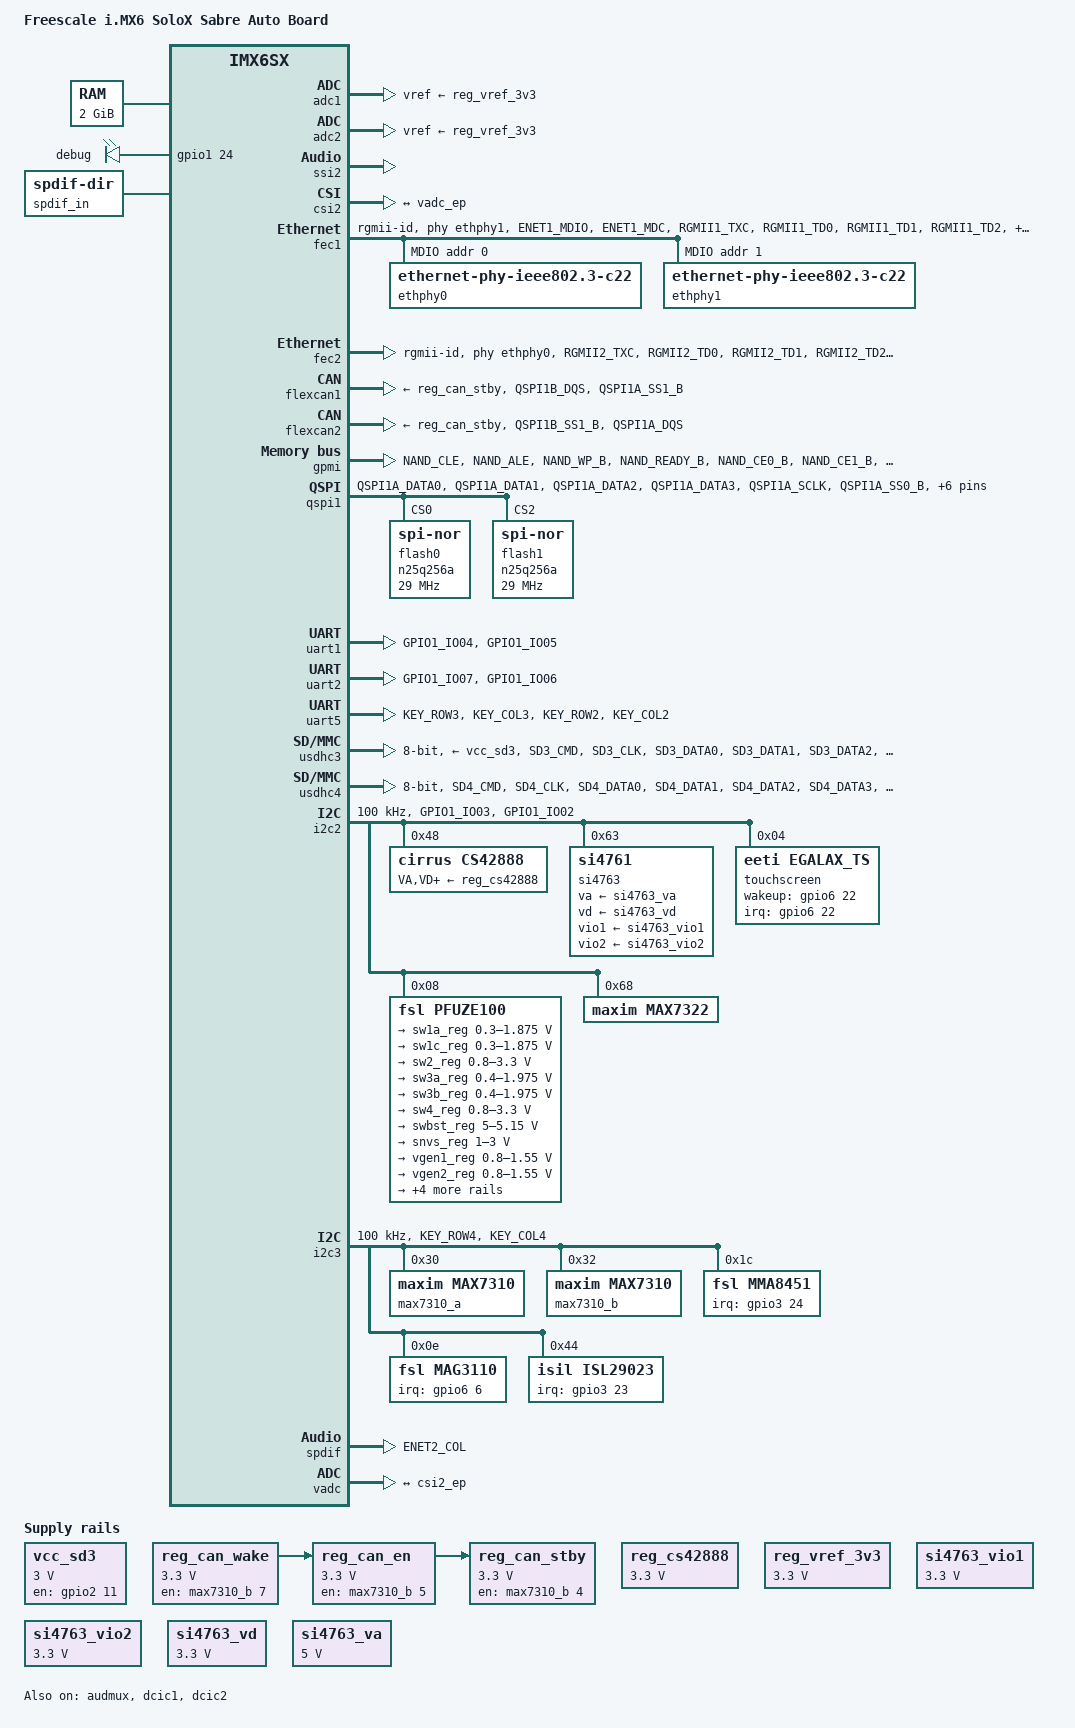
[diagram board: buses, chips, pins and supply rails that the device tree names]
// SPDX-License-Identifier: GPL-2.0
//
// Copyright (C) 2014 Freescale Semiconductor, Inc.

/dts-v1/;

#include "imx6sx.dtsi"

/ {
	model = "Freescale i.MX6 SoloX Sabre Auto Board";
	compatible = "fsl,imx6sx-sabreauto", "fsl,imx6sx";

	memory@80000000 {
		device_type = "memory";
		reg = <0x80000000 0x80000000>;
	};

	leds {
		compatible = "gpio-leds";
		pinctrl-names = "default";
		pinctrl-0 = <&pinctrl_led>;

		led-user {
			label = "debug";
			gpios = <&gpio1 24 GPIO_ACTIVE_HIGH>;
			linux,default-trigger = "heartbeat";
		};
	};

	vcc_sd3: regulator-vcc-sd3 {
		compatible = "regulator-fixed";
		pinctrl-names = "default";
		pinctrl-0 = <&pinctrl_vcc_sd3>;
		regulator-name = "VCC_SD3";
		regulator-min-microvolt = <3000000>;
		regulator-max-microvolt = <3000000>;
		gpio = <&gpio2 11 GPIO_ACTIVE_HIGH>;
		enable-active-high;
	};

	reg_can_wake: regulator-can-wake {
		compatible = "regulator-fixed";
		regulator-name = "can-wake";
		regulator-min-microvolt = <3300000>;
		regulator-max-microvolt = <3300000>;
		gpio = <&max7310_b 7 GPIO_ACTIVE_HIGH>;
		enable-active-high;
	};

	reg_can_en: regulator-can-en {
		compatible = "regulator-fixed";
		regulator-name = "can-en";
		regulator-min-microvolt = <3300000>;
		regulator-max-microvolt = <3300000>;
		gpio = <&max7310_b 5 GPIO_ACTIVE_HIGH>;
		enable-active-high;
		vin-supply = <&reg_can_wake>;
	};

	reg_can_stby: regulator-can-stby {
		compatible = "regulator-fixed";
		regulator-name = "can-stby";
		regulator-min-microvolt = <3300000>;
		regulator-max-microvolt = <3300000>;
		gpio = <&max7310_b 4 GPIO_ACTIVE_HIGH>;
		enable-active-high;
		vin-supply = <&reg_can_en>;
	};

	reg_cs42888: cs42888_supply {
		compatible = "regulator-fixed";
		regulator-name = "cs42888_supply";
		regulator-min-microvolt = <3300000>;
		regulator-max-microvolt = <3300000>;
		regulator-always-on;
	};

	reg_vref_3v3: regulator-adc-verf {
		compatible = "regulator-fixed";
		regulator-name = "vref-3v3";
		regulator-min-microvolt = <3300000>;
		regulator-max-microvolt = <3300000>;
	};

	si4763_vio1: vio1_tnr {
		compatible = "regulator-fixed";
		regulator-name = "vio1";
		regulator-min-microvolt = <3300000>;
		regulator-max-microvolt = <3300000>;
		regulator-always-on;
	};

	si4763_vio2: vio2_tnr {
		compatible = "regulator-fixed";
		regulator-name = "vio2";
		regulator-min-microvolt = <3300000>;
		regulator-max-microvolt = <3300000>;
		regulator-always-on;
	};

	si4763_vd: f3v3_tnr {
		compatible = "regulator-fixed";
		regulator-name = "vd";
		regulator-min-microvolt = <3300000>;
		regulator-max-microvolt = <3300000>;
		regulator-always-on;
	};

	si4763_va: f5v_tnr {
		compatible = "regulator-fixed";
		regulator-name = "va";
		regulator-min-microvolt = <5000000>;
		regulator-max-microvolt = <5000000>;
		regulator-always-on;
	};

	sound-cs42888 {
		compatible = "fsl,imx6-sabreauto-cs42888",
			     "fsl,imx-audio-cs42888";
		model = "imx-cs42888";
		audio-cpu = <&esai>;
		audio-asrc = <&asrc>;
		audio-codec = <&cs42888>;
		audio-routing =
			"Line Out Jack", "AOUT1L",
			"Line Out Jack", "AOUT1R",
			"Line Out Jack", "AOUT2L",
			"Line Out Jack", "AOUT2R",
			"Line Out Jack", "AOUT3L",
			"Line Out Jack", "AOUT3R",
			"Line Out Jack", "AOUT4L",
			"Line Out Jack", "AOUT4R",
			"AIN1L", "Line In Jack",
			"AIN1R", "Line In Jack",
			"AIN2L", "Line In Jack",
			"AIN2R", "Line In Jack";
	};

	sound-fm {
		compatible = "fsl,imx-audio-si476x",
			   "fsl,imx-tuner-si476x";
		model = "imx-radio-si4763";

		ssi-controller = <&ssi2>;
		fm-controller = <&si476x_codec>;
		mux-int-port = <2>;
		mux-ext-port = <5>;
	};

	spdif_in: spdif-in {
		compatible = "linux,spdif-dir";
		#sound-dai-cells = <0>;
	};

	sound-spdif {
		compatible = "fsl,imx-audio-spdif";
		model = "imx-spdif";
		audio-cpu = <&spdif>;
		audio-codec = <&spdif_in>;
	};
};

&adc1 {
	vref-supply = <&reg_vref_3v3>;
	status = "okay";
};

&adc2 {
	vref-supply = <&reg_vref_3v3>;
	status = "okay";
};

&anaclk2 {
	clock-frequency = <24576000>;
};

&audmux {
	pinctrl-names = "default";
	pinctrl-0 = <&pinctrl_audmux_3>;
	status = "okay";
};

&clks {
	assigned-clocks = <&clks IMX6SX_PLL4_BYPASS_SRC>,
			  <&clks IMX6SX_PLL4_BYPASS>,
			  <&clks IMX6SX_CLK_PLL4_POST_DIV>;
	assigned-clock-parents = <&clks IMX6SX_CLK_LVDS2_IN>,
				 <&clks IMX6SX_PLL4_BYPASS_SRC>;
	assigned-clock-rates = <0>, <0>, <24576000>;
};

&ssi2 {
	fsl,mode = "i2s-master";
	status = "okay";
};

&csi2 {
	status = "okay";
	port {
		csi2_ep: endpoint {
			remote-endpoint = <&vadc_ep>;
		};
	};
};

&dcic1 {
	dcic_id = <0>;
	dcic_mux = "dcic-lcdif1";
	status = "okay";
};

&dcic2 {
	dcic_id = <1>;
	dcic_mux = "dcic-lvds";
	status = "okay";
};

&esai {
	pinctrl-names = "default";
	pinctrl-0 = <&pinctrl_esai>;
	assigned-clocks = <&clks IMX6SX_CLK_ESAI_SEL>,
			<&clks IMX6SX_CLK_ESAI_EXTAL>;
	assigned-clock-parents = <&clks IMX6SX_CLK_PLL4_AUDIO_DIV>;
	assigned-clock-rates = <0>, <24576000>;
};

&fec1 {
	pinctrl-names = "default";
	pinctrl-0 = <&pinctrl_enet1>;
	phy-mode = "rgmii-id";
	phy-handle = <&ethphy1>;
	fsl,magic-packet;
	status = "okay";

	mdio {
		#address-cells = <1>;
		#size-cells = <0>;

		ethphy0: ethernet-phy@0 {
			compatible = "ethernet-phy-ieee802.3-c22";
			reg = <0>;
			qca,disable-smarteee;
		};

		ethphy1: ethernet-phy@1 {
			compatible = "ethernet-phy-ieee802.3-c22";
			reg = <1>;
			qca,disable-smarteee;
		};
	};
};

&fec2 {
	pinctrl-names = "default";
	pinctrl-0 = <&pinctrl_enet2>;
	phy-mode = "rgmii-id";
	phy-handle = <&ethphy0>;
	fsl,magic-packet;
	status = "okay";
};

&flexcan1 {
	pinctrl-names = "default";
	pinctrl-0 = <&pinctrl_flexcan1>;
	xceiver-supply = <&reg_can_stby>;
	status = "okay";
};

&flexcan2 {
	pinctrl-names = "default";
	pinctrl-0 = <&pinctrl_flexcan2>;
	xceiver-supply = <&reg_can_stby>;
	status = "okay";
};

&gpmi {
        pinctrl-names = "default";
        pinctrl-0 = <&pinctrl_gpmi_nand_1>;
        nand-on-flash-bbt;
        status = "okay";
};

&qspi1 {
	pinctrl-names = "default";
	pinctrl-0 = <&pinctrl_qspi1_1>;
	status = "okay";
	ddrsmp=<2>;

	flash0: n25q256a@0 {
		#address-cells = <1>;
		#size-cells = <1>;
		compatible = "jedec,spi-nor";
		spi-max-frequency = <29000000>;
		spi-tx-bus-width = <4>;
		spi-rx-bus-width = <4>;
		reg = <0>;
	};

	flash1: n25q256a@2 {
		#address-cells = <1>;
		#size-cells = <1>;
		compatible = "jedec,spi-nor";
		spi-max-frequency = <29000000>;
		spi-tx-bus-width = <4>;
		spi-rx-bus-width = <4>;
		reg = <2>;
	};
};

&uart1 {
	pinctrl-names = "default";
	pinctrl-0 = <&pinctrl_uart1>;
	status = "okay";
};

&uart2 {
	pinctrl-names = "default";
	pinctrl-0 = <&pinctrl_uart2>;
	status = "okay";
};

&uart5 { /* for bluetooth */
	pinctrl-names = "default";
	pinctrl-0 = <&pinctrl_uart5>;
	fsl,uart-has-rtscts;
	status = "okay";
	/* for DTE mode, add below change */
	/* fsl,dte-mode;*/
	/* pinctrl-0 = <&pinctrl_uart5dte>; */
};

&usdhc3 {
	pinctrl-names = "default", "state_100mhz", "state_200mhz";
	pinctrl-0 = <&pinctrl_usdhc3>;
	pinctrl-1 = <&pinctrl_usdhc3_100mhz>;
	pinctrl-2 = <&pinctrl_usdhc3_200mhz>;
	bus-width = <8>;
	cd-gpios = <&gpio7 10 GPIO_ACTIVE_LOW>;
	wp-gpios = <&gpio3 19 GPIO_ACTIVE_HIGH>;
	keep-power-in-suspend;
	wakeup-source;
	vmmc-supply = <&vcc_sd3>;
	status = "okay";
};

&usdhc4 {
	pinctrl-names = "default";
	pinctrl-0 = <&pinctrl_usdhc4>;
	bus-width = <8>;
	cd-gpios = <&gpio7 11 GPIO_ACTIVE_LOW>;
	no-1-8-v;
	keep-power-in-suspend;
	wakeup-source;
	status = "okay";
};

&iomuxc {
	pinctrl_audmux_3: audmux-3 {
		fsl,pins = <
			MX6SX_PAD_SD1_CMD__AUDMUX_AUD5_RXC    0x130b0
			MX6SX_PAD_SD1_CLK__AUDMUX_AUD5_RXFS   0x130b0
			MX6SX_PAD_SD1_DATA3__AUDMUX_AUD5_RXD  0x130b0
		>;
	};

	pinctrl_egalax_int: egalax-intgrp {
		fsl,pins = <
			MX6SX_PAD_SD4_RESET_B__GPIO6_IO_22      0x10b0
		>;
	};

	pinctrl_enet1: enet1grp {
		fsl,pins = <
			MX6SX_PAD_ENET1_MDIO__ENET1_MDIO        0xa0b1
			MX6SX_PAD_ENET1_MDC__ENET1_MDC          0xa0b1
			MX6SX_PAD_RGMII1_TXC__ENET1_RGMII_TXC   0xa0b9
			MX6SX_PAD_RGMII1_TD0__ENET1_TX_DATA_0   0xa0b1
			MX6SX_PAD_RGMII1_TD1__ENET1_TX_DATA_1   0xa0b1
			MX6SX_PAD_RGMII1_TD2__ENET1_TX_DATA_2   0xa0b1
			MX6SX_PAD_RGMII1_TD3__ENET1_TX_DATA_3   0xa0b1
			MX6SX_PAD_RGMII1_TX_CTL__ENET1_TX_EN    0xa0b1
			MX6SX_PAD_RGMII1_RXC__ENET1_RX_CLK      0x3081
			MX6SX_PAD_RGMII1_RD0__ENET1_RX_DATA_0   0x3081
			MX6SX_PAD_RGMII1_RD1__ENET1_RX_DATA_1   0x3081
			MX6SX_PAD_RGMII1_RD2__ENET1_RX_DATA_2   0x3081
			MX6SX_PAD_RGMII1_RD3__ENET1_RX_DATA_3   0x3081
			MX6SX_PAD_RGMII1_RX_CTL__ENET1_RX_EN    0x3081
		>;
	};

	pinctrl_enet2: enet2grp {
		fsl,pins = <
			MX6SX_PAD_RGMII2_TXC__ENET2_RGMII_TXC   0xa0b9
			MX6SX_PAD_RGMII2_TD0__ENET2_TX_DATA_0   0xa0b1
			MX6SX_PAD_RGMII2_TD1__ENET2_TX_DATA_1   0xa0b1
			MX6SX_PAD_RGMII2_TD2__ENET2_TX_DATA_2   0xa0b1
			MX6SX_PAD_RGMII2_TD3__ENET2_TX_DATA_3   0xa0b1
			MX6SX_PAD_RGMII2_TX_CTL__ENET2_TX_EN    0xa0b1
			MX6SX_PAD_RGMII2_RXC__ENET2_RX_CLK      0x3081
			MX6SX_PAD_RGMII2_RD0__ENET2_RX_DATA_0   0x3081
			MX6SX_PAD_RGMII2_RD1__ENET2_RX_DATA_1   0x3081
			MX6SX_PAD_RGMII2_RD2__ENET2_RX_DATA_2   0x3081
			MX6SX_PAD_RGMII2_RD3__ENET2_RX_DATA_3   0x3081
			MX6SX_PAD_RGMII2_RX_CTL__ENET2_RX_EN    0x3081
		>;
	};

	pinctrl_esai: esaigrp {
		fsl,pins = <
			MX6SX_PAD_CSI_DATA00__ESAI_TX_CLK   0x1b030
			MX6SX_PAD_CSI_DATA01__ESAI_TX_FS    0x1b030
			MX6SX_PAD_CSI_HSYNC__ESAI_TX0       0x1b030
			MX6SX_PAD_CSI_DATA04__ESAI_TX1      0x1b030
			MX6SX_PAD_CSI_DATA06__ESAI_TX2_RX3  0x1b030
			MX6SX_PAD_CSI_DATA07__ESAI_TX3_RX2  0x1b030
			MX6SX_PAD_CSI_DATA02__ESAI_RX_CLK   0x1b030
			MX6SX_PAD_CSI_DATA03__ESAI_RX_FS    0x1b030
			MX6SX_PAD_CSI_VSYNC__ESAI_TX5_RX0   0x1b030
			MX6SX_PAD_CSI_DATA05__ESAI_TX4_RX1  0x1b030
		>;
	};

	pinctrl_flexcan1: flexcan1grp {
		fsl,pins = <
			MX6SX_PAD_QSPI1B_DQS__CAN1_TX   0x1b020
			MX6SX_PAD_QSPI1A_SS1_B__CAN1_RX	0x1b020
		>;
	};

	pinctrl_flexcan2: flexcan2grp {
		fsl,pins = <
			MX6SX_PAD_QSPI1B_SS1_B__CAN2_RX 0x1b020
			MX6SX_PAD_QSPI1A_DQS__CAN2_TX	0x1b020
		>;
	};

	pinctrl_gpmi_nand_1: gpmi-nand-1 {
		fsl,pins = <
			MX6SX_PAD_NAND_CLE__RAWNAND_CLE         0xb0b1
			MX6SX_PAD_NAND_ALE__RAWNAND_ALE         0xb0b1
			MX6SX_PAD_NAND_WP_B__RAWNAND_WP_B       0xb0b1
			MX6SX_PAD_NAND_READY_B__RAWNAND_READY_B 0xb000
			MX6SX_PAD_NAND_CE0_B__RAWNAND_CE0_B     0xb0b1
			MX6SX_PAD_NAND_CE1_B__RAWNAND_CE1_B     0xb0b1
			MX6SX_PAD_NAND_RE_B__RAWNAND_RE_B       0xb0b1
			MX6SX_PAD_NAND_WE_B__RAWNAND_WE_B       0xb0b1
			MX6SX_PAD_NAND_DATA00__RAWNAND_DATA00   0xb0b1
			MX6SX_PAD_NAND_DATA01__RAWNAND_DATA01   0xb0b1
			MX6SX_PAD_NAND_DATA02__RAWNAND_DATA02   0xb0b1
			MX6SX_PAD_NAND_DATA03__RAWNAND_DATA03   0xb0b1
			MX6SX_PAD_NAND_DATA04__RAWNAND_DATA04   0xb0b1
			MX6SX_PAD_NAND_DATA05__RAWNAND_DATA05   0xb0b1
			MX6SX_PAD_NAND_DATA06__RAWNAND_DATA06   0xb0b1
			MX6SX_PAD_NAND_DATA07__RAWNAND_DATA07   0xb0b1
		>;
	};

	pinctrl_i2c2: i2c2grp {
		fsl,pins = <
			MX6SX_PAD_GPIO1_IO03__I2C2_SDA          0x4001b8b1
			MX6SX_PAD_GPIO1_IO02__I2C2_SCL          0x4001b8b1
		>;
	};

	pinctrl_i2c3: i2c3grp {
		fsl,pins = <
			MX6SX_PAD_KEY_ROW4__I2C3_SDA            0x4001b8b1
			MX6SX_PAD_KEY_COL4__I2C3_SCL            0x4001b8b1
		>;
	};

	pinctrl_led: ledgrp {
		fsl,pins = <
			MX6SX_PAD_CSI_PIXCLK__GPIO1_IO_24 0x17059
		>;
	};

	pinctrl_spdif: spdifgrp {
		fsl,pins = <
			MX6SX_PAD_ENET2_COL__SPDIF_IN           0x1b0b0
		>;
	};

	pinctrl_qspi1_1: qspi1grp_1 {
		fsl,pins = <
			MX6SX_PAD_QSPI1A_DATA0__QSPI1_A_DATA_0  0x70a1
			MX6SX_PAD_QSPI1A_DATA1__QSPI1_A_DATA_1  0x70a1
			MX6SX_PAD_QSPI1A_DATA2__QSPI1_A_DATA_2  0x70a1
			MX6SX_PAD_QSPI1A_DATA3__QSPI1_A_DATA_3  0x70a1
			MX6SX_PAD_QSPI1A_SCLK__QSPI1_A_SCLK     0x70a1
			MX6SX_PAD_QSPI1A_SS0_B__QSPI1_A_SS0_B   0x70a1
			MX6SX_PAD_QSPI1B_DATA0__QSPI1_B_DATA_0  0x70a1
			MX6SX_PAD_QSPI1B_DATA1__QSPI1_B_DATA_1  0x70a1
			MX6SX_PAD_QSPI1B_DATA2__QSPI1_B_DATA_2  0x70a1
			MX6SX_PAD_QSPI1B_DATA3__QSPI1_B_DATA_3  0x70a1
			MX6SX_PAD_QSPI1B_SCLK__QSPI1_B_SCLK     0x70a1
			MX6SX_PAD_QSPI1B_SS0_B__QSPI1_B_SS0_B   0x70a1
		>;
	};

	pinctrl_uart1: uart1grp {
		fsl,pins = <
			MX6SX_PAD_GPIO1_IO04__UART1_DCE_TX		0x1b0b1
			MX6SX_PAD_GPIO1_IO05__UART1_DCE_RX		0x1b0b1
		>;
	};

	pinctrl_uart2: uart2grp {
		fsl,pins = <
			MX6SX_PAD_GPIO1_IO07__UART2_RX 0x1b0b1
			MX6SX_PAD_GPIO1_IO06__UART2_TX 0x1b0b1
		>;
	};

	pinctrl_uart5: uart5grp {
		fsl,pins = <
			MX6SX_PAD_KEY_ROW3__UART5_RX    0x1b0b1
			MX6SX_PAD_KEY_COL3__UART5_TX    0x1b0b1
			MX6SX_PAD_KEY_ROW2__UART5_CTS_B 0x1b0b1
			MX6SX_PAD_KEY_COL2__UART5_RTS_B 0x1b0b1
		>;
	};

	pinctrl_uart5dte: uart5dtegrp {
		fsl,pins = <
			MX6SX_PAD_KEY_ROW3__UART5_TX	0x1b0b1
			MX6SX_PAD_KEY_COL3__UART5_RX	0x1b0b1
			MX6SX_PAD_KEY_ROW2__UART5_RTS_B	0x1b0b1
			MX6SX_PAD_KEY_COL2__UART5_CTS_B	0x1b0b1
		>;
	};

	pinctrl_usdhc3: usdhc3grp {
		fsl,pins = <
			MX6SX_PAD_SD3_CMD__USDHC3_CMD		0x17059
			MX6SX_PAD_SD3_CLK__USDHC3_CLK		0x10059
			MX6SX_PAD_SD3_DATA0__USDHC3_DATA0	0x17059
			MX6SX_PAD_SD3_DATA1__USDHC3_DATA1	0x17059
			MX6SX_PAD_SD3_DATA2__USDHC3_DATA2	0x17059
			MX6SX_PAD_SD3_DATA3__USDHC3_DATA3	0x17059
			MX6SX_PAD_SD3_DATA4__USDHC3_DATA4	0x17059
			MX6SX_PAD_SD3_DATA5__USDHC3_DATA5	0x17059
			MX6SX_PAD_SD3_DATA6__USDHC3_DATA6	0x17059
			MX6SX_PAD_SD3_DATA7__USDHC3_DATA7	0x17059
			MX6SX_PAD_KEY_COL0__GPIO2_IO_10		0x17059 /* CD */
			MX6SX_PAD_KEY_ROW0__GPIO2_IO_15		0x17059 /* WP */
		>;
	};

	pinctrl_usdhc3_100mhz: usdhc3grp-100mhz {
		fsl,pins = <
			MX6SX_PAD_SD3_CMD__USDHC3_CMD		0x170b9
			MX6SX_PAD_SD3_CLK__USDHC3_CLK		0x100b9
			MX6SX_PAD_SD3_DATA0__USDHC3_DATA0	0x170b9
			MX6SX_PAD_SD3_DATA1__USDHC3_DATA1	0x170b9
			MX6SX_PAD_SD3_DATA2__USDHC3_DATA2	0x170b9
			MX6SX_PAD_SD3_DATA3__USDHC3_DATA3	0x170b9
			MX6SX_PAD_SD3_DATA4__USDHC3_DATA4	0x170b9
			MX6SX_PAD_SD3_DATA5__USDHC3_DATA5	0x170b9
			MX6SX_PAD_SD3_DATA6__USDHC3_DATA6	0x170b9
			MX6SX_PAD_SD3_DATA7__USDHC3_DATA7	0x170b9
		>;
	};

	pinctrl_usdhc3_200mhz: usdhc3grp-200mhz {
		fsl,pins = <
			MX6SX_PAD_SD3_CMD__USDHC3_CMD		0x170f9
			MX6SX_PAD_SD3_CLK__USDHC3_CLK		0x100f9
			MX6SX_PAD_SD3_DATA0__USDHC3_DATA0	0x170f9
			MX6SX_PAD_SD3_DATA1__USDHC3_DATA1	0x170f9
			MX6SX_PAD_SD3_DATA2__USDHC3_DATA2	0x170f9
			MX6SX_PAD_SD3_DATA3__USDHC3_DATA3	0x170f9
			MX6SX_PAD_SD3_DATA4__USDHC3_DATA4	0x170f9
			MX6SX_PAD_SD3_DATA5__USDHC3_DATA5	0x170f9
			MX6SX_PAD_SD3_DATA6__USDHC3_DATA6	0x170f9
			MX6SX_PAD_SD3_DATA7__USDHC3_DATA7	0x170f9
		>;
	};

	pinctrl_usdhc4: usdhc4grp {
		fsl,pins = <
			MX6SX_PAD_SD4_CMD__USDHC4_CMD		0x17059
			MX6SX_PAD_SD4_CLK__USDHC4_CLK		0x10059
			MX6SX_PAD_SD4_DATA0__USDHC4_DATA0	0x17059
			MX6SX_PAD_SD4_DATA1__USDHC4_DATA1	0x17059
			MX6SX_PAD_SD4_DATA2__USDHC4_DATA2	0x17059
			MX6SX_PAD_SD4_DATA3__USDHC4_DATA3	0x17059
			MX6SX_PAD_SD4_DATA7__GPIO6_IO_21	0x17059 /* CD */
			MX6SX_PAD_SD4_DATA6__GPIO6_IO_20	0x17059 /* WP */
		>;
	};

	pinctrl_vcc_sd3: vccsd3grp {
		fsl,pins = <
			MX6SX_PAD_KEY_COL1__GPIO2_IO_11		0x17059
		>;
	};

	pinctrl_wdog: wdoggrp {
		fsl,pins = <
			MX6SX_PAD_GPIO1_IO13__WDOG1_WDOG_ANY	0x30b0
		>;
	};
};

&i2c2 {
	clock-frequency = <100000>;
	pinctrl-names = "default";
	pinctrl-0 = <&pinctrl_i2c2>;
	status = "okay";

	cs42888: cs42888@48 {
		compatible = "cirrus,cs42888";
		reg = <0x48>;
		clocks = <&anaclk2 0>;
		clock-names = "mclk";
		VA-supply = <&reg_cs42888>;
		VD-supply = <&reg_cs42888>;
		VLS-supply = <&reg_cs42888>;
		VLC-supply = <&reg_cs42888>;
	};

	si4763: si4763@63 {
		compatible = "si4761";
		reg = <0x63>;
		va-supply = <&si4763_va>;
		vd-supply = <&si4763_vd>;
		vio1-supply = <&si4763_vio1>;
		vio2-supply = <&si4763_vio2>;
		revision-a10; /* set to default A10 compatible command set */

		si476x_codec: si476x-codec {
			compatible = "si476x-codec";
		};
	};

	touchscreen@4 {
		compatible = "eeti,egalax_ts";
		reg = <0x04>;
		pinctrl-names = "default";
		pinctrl-0 = <&pinctrl_egalax_int>;
		interrupt-parent = <&gpio6>;
		interrupts = <22 IRQ_TYPE_EDGE_FALLING>;
		wakeup-gpios = <&gpio6 22 GPIO_ACTIVE_HIGH>;
	};

	pfuze100: pmic@8 {
		compatible = "fsl,pfuze100";
		reg = <0x08>;

		regulators {
			sw1a_reg: sw1ab {
				regulator-min-microvolt = <300000>;
				regulator-max-microvolt = <1875000>;
				regulator-boot-on;
				regulator-always-on;
				regulator-ramp-delay = <6250>;
			};

			sw1c_reg: sw1c {
				regulator-min-microvolt = <300000>;
				regulator-max-microvolt = <1875000>;
				regulator-boot-on;
				regulator-always-on;
				regulator-ramp-delay = <6250>;
			};

			sw2_reg: sw2 {
				regulator-min-microvolt = <800000>;
				regulator-max-microvolt = <3300000>;
				regulator-boot-on;
				regulator-always-on;
			};

			sw3a_reg: sw3a {
				regulator-min-microvolt = <400000>;
				regulator-max-microvolt = <1975000>;
				regulator-boot-on;
				regulator-always-on;
			};

			sw3b_reg: sw3b {
				regulator-min-microvolt = <400000>;
				regulator-max-microvolt = <1975000>;
				regulator-boot-on;
				regulator-always-on;
			};

			sw4_reg: sw4 {
				regulator-min-microvolt = <800000>;
				regulator-max-microvolt = <3300000>;
				regulator-always-on;
			};

			swbst_reg: swbst {
				regulator-min-microvolt = <5000000>;
				regulator-max-microvolt = <5150000>;
			};

			snvs_reg: vsnvs {
				regulator-min-microvolt = <1000000>;
				regulator-max-microvolt = <3000000>;
				regulator-boot-on;
				regulator-always-on;
			};

			vref_reg: vrefddr {
				regulator-boot-on;
				regulator-always-on;
			};

			vgen1_reg: vgen1 {
				regulator-min-microvolt = <800000>;
				regulator-max-microvolt = <1550000>;
				regulator-always-on;
			};

			vgen2_reg: vgen2 {
				regulator-min-microvolt = <800000>;
				regulator-max-microvolt = <1550000>;
			};

			vgen3_reg: vgen3 {
				regulator-min-microvolt = <1800000>;
				regulator-max-microvolt = <3300000>;
				regulator-always-on;
			};

			vgen4_reg: vgen4 {
				regulator-min-microvolt = <1800000>;
				regulator-max-microvolt = <3300000>;
				regulator-always-on;
			};

			vgen5_reg: vgen5 {
				regulator-min-microvolt = <1800000>;
				regulator-max-microvolt = <3300000>;
				regulator-always-on;
			};

			vgen6_reg: vgen6 {
				regulator-min-microvolt = <1800000>;
				regulator-max-microvolt = <3300000>;
				regulator-always-on;
			};
		};
	};

	max7322: gpio@68 {
		compatible = "maxim,max7322";
		reg = <0x68>;
		gpio-controller;
		#gpio-cells = <2>;
	};
};

&i2c3 {
	clock-frequency = <100000>;
	pinctrl-names = "default";
	pinctrl-0 = <&pinctrl_i2c3>;
	status = "okay";

	max7310_a: gpio@30 {
		compatible = "maxim,max7310";
		reg = <0x30>;
		gpio-controller;
		#gpio-cells = <2>;
	};

	max7310_b: gpio@32 {
		compatible = "maxim,max7310";
		reg = <0x32>;
		gpio-controller;
		#gpio-cells = <2>;
	};

	mma8451@1c {
		compatible = "fsl,mma8451";
		reg = <0x1c>;
		position = <7>;
		interrupt-parent = <&gpio3>;
		interrupts = <24 8>;
		interrupt-route = <1>;
	};

	mag3110@e {
		compatible = "fsl,mag3110";
		reg = <0xe>;
		position = <2>;
		interrupt-parent = <&gpio6>;
		interrupts = <6 1>;
	};

	isl29023@44 {
		compatible = "isil,isl29023";
		reg = <0x44>;
		rext = <499>;
		interrupt-parent = <&gpio3>;
		interrupts = <23 2>;
	};
};

&spdif {
	pinctrl-names = "default";
	pinctrl-0 = <&pinctrl_spdif>;
	assigned-clocks = <&clks IMX6SX_CLK_SPDIF_PODF>;
	assigned-clock-rates = <24576000>;
	status = "okay";
};

&vadc {
	vadc_in = <0>;
	csi_id = <1>;
	status = "okay";
	port {
		vadc_ep: endpoint {
			remote-endpoint = <&csi2_ep>;
		};
	};
};

&wdog1 {
	pinctrl-names = "default";
	pinctrl-0 = <&pinctrl_wdog>;
	fsl,ext-reset-output;
};
